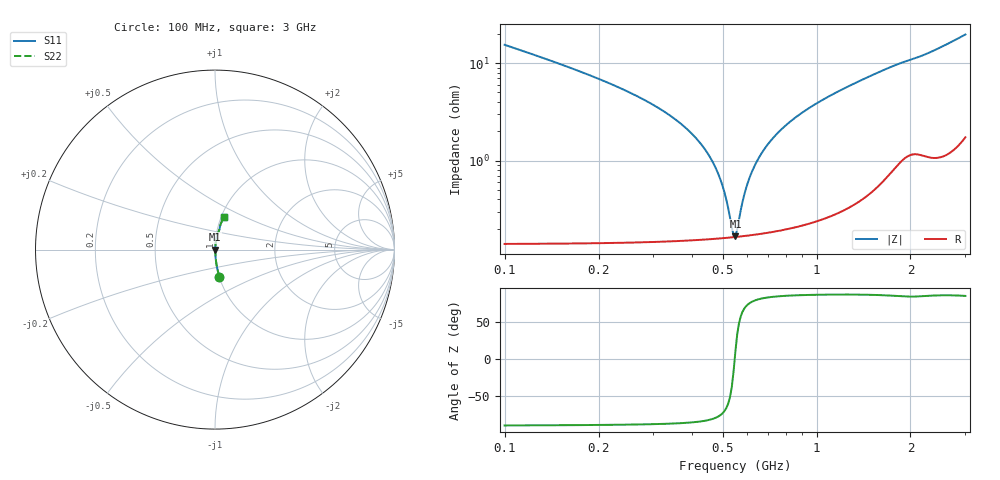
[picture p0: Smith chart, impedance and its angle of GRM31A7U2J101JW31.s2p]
!Murata Part Number: GRM31A7U2J101JW31
!These Parameters are Measured in Series Mode Connection
!Data Generated on Mar 30, 2021
!  o--ll--o
!Port1  Port2
!  o------o
!Operation Temp=25[degC], DC Bias Voltage=0[V]
!Freq. Start=100[MHz] Stop=3[GHz] 401[Steps]
# Hz S RI R 50
!Freq.(Hz) S11(Real) S11(Imag) S21(Real) S21(Imag) S12(Real) S12(Imag) S22(Real) S22(Imag)
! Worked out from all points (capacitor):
!   401 points, 100 MHz to 3 GHz, reference 50 ohm
!   read as one part in series: C = 99.9 pF near 114.5 MHz
!   lowest |Z| = 168 mohm at 549.5 MHz (marker M1)
!   series resonance near 546.6 MHz, so ESL is about 850 pH
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1e8  0.0244 -0.1499  0.9756 0.1499  0.9756 0.1499  0.0244 -0.1499
2.16e8  0.00528 -0.0618  0.9947 0.0618  0.9947 0.0618  0.00528 -0.0618
3.5375e8  0.00218 -0.0261  0.9978 0.0261  0.9978 0.0261  0.00218 -0.0261
4.2625e8  0.00176 -0.0147  0.9982 0.0147  0.9982 0.0147  0.00176 -0.0147
4.5525e8  0.00168 -0.0107  0.9983 0.0107  0.9983 0.0107  0.00168 -0.0107
4.8425e8  0.00164 -0.0071  0.9984 0.0071  0.9984 0.0071  0.00164 -0.0071
5.06e8  0.00163 -0.00452  0.9984 0.00452  0.9984 0.00452  0.00163 -0.00452
5.35e8  0.00164 -0.00125  0.9984 0.00125  0.9984 0.00125  0.00164 -0.00125
5.4225e8  0.00164 -0.000466  0.9984 0.000466  0.9984 0.000466  0.00164 -0.000466
5.495e8  0.00165 0.000311  0.9984 -0.000311  0.9984 -0.000311  0.00165 0.000311
5.64e8  0.00167 0.00184  0.9983 -0.00184  0.9983 -0.00184  0.00167 0.00184
5.8575e8  0.0017 0.00406  0.9983 -0.00406  0.9983 -0.00406  0.0017 0.00406
6.1475e8  0.00177 0.00692  0.9982 -0.00692  0.9982 -0.00692  0.00177 0.00692
6.4375e8  0.00185 0.00966  0.9982 -0.00966  0.9982 -0.00966  0.00185 0.00966
6.8e8  0.00197 0.013  0.998 -0.013  0.998 -0.013  0.00197 0.013
7.3075e8  0.00217 0.0174  0.9978 -0.0174  0.9978 -0.0174  0.00217 0.0174
8.685e8  0.00291 0.0285  0.9971 -0.0285  0.9971 -0.0285  0.00291 0.0285
1.0715e9  0.00447 0.0435  0.9955 -0.0435  0.9955 -0.0435  0.00447 0.0435
1.55e9  0.0111 0.0768  0.9889 -0.0768  0.9889 -0.0768  0.0111 0.0768
2.03575e9  0.0229 0.1059  0.9771 -0.1059  0.9771 -0.1059  0.0229 0.1059
2.5215e9  0.0312 0.1406  0.9688 -0.1406  0.9688 -0.1406  0.0312 0.1406
3e9  0.0521 0.1822  0.9479 -0.1822  0.9479 -0.1822  0.0521 0.1822
